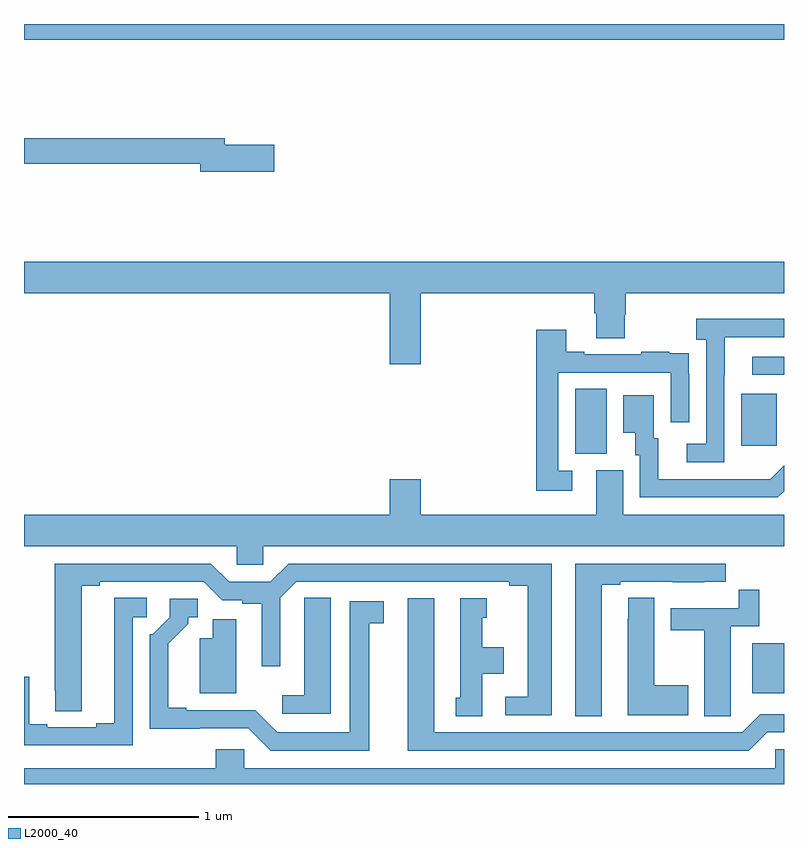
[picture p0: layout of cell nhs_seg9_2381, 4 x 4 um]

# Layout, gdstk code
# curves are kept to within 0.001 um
import gdstk
lib = gdstk.Library(unit=1e-6, precision=1e-09)
def R(c, l, rs):  # rectangles x0, y0, x1, y1
    for r in rs: c.add(gdstk.rectangle(r[:2], r[2:], *l))
def P(c, l, *ps):  # polygons
    for p in ps: c.add(gdstk.Polygon(p, *l))
L2000_40 = (2000, 40)

nhs_seg9_2381 = lib.new_cell('nhs_seg9_2381')
R(nhs_seg9_2381, L2000_40, [(250.832,1196.978,251,1197.241), (249.902,1198.237,250.066,1198.58), (250.775,1198.281,250.963,1198.555), (250.833,1198.653,251,1198.749), (247,1200.416,251,1200.5)])
P(nhs_seg9_2381, L2000_40, [(248.317,1199.864),(248.056,1199.864),(248.056,1199.9),(247,1199.9),(247,1199.764),(247.928,1199.764),(247.928,1199.722),(248.317,1199.722)],
  [(249.088,1199.084),(250.001,1199.084),(250.001,1198.978),(250.013,1198.978),(250.013,1198.846),(250.161,1198.846),(250.161,1198.971),(250.166,1198.971),(250.166,1199.084),(251,1199.084),(251,1199.248),(247,1199.248),(247,1199.084),(248.924,1199.084),(248.924,1198.71),(249.088,1198.71)],
  [(250.686,1198.651),(250.687,1198.651),(250.687,1198.851),(251,1198.851),(251,1198.948),(250.539,1198.948),(250.539,1198.838),(250.59,1198.838),(250.59,1198.29),(250.488,1198.29),(250.488,1198.194),(250.686,1198.194)],
  [(249.886,1198.149),(249.813,1198.149),(249.813,1198.665),(250.404,1198.665),(250.404,1198.404),(250.5,1198.404),(250.5,1198.658),(250.499,1198.658),(250.499,1198.767),(250.397,1198.767),(250.397,1198.774),(250.249,1198.774),(250.249,1198.761),(249.949,1198.761),(249.949,1198.774),(249.853,1198.774),(249.853,1198.891),(249.697,1198.891),(249.697,1198.044),(249.886,1198.044)],
  [(251,1198.042),(251,1198.178),(250.927,1198.105),(250.339,1198.104),(250.339,1198.32),(250.315,1198.32),(250.315,1198.546),(250.154,1198.546),(250.154,1198.349),(250.217,1198.349),(250.217,1198.23),(250.242,1198.23),(250.242,1198.008),(250.966,1198.008)],
  [(248.259,1197.752),(251,1197.752),(251,1197.916),(250.153,1197.916),(250.153,1198.152),(250.013,1198.152),(250.013,1197.916),(249.088,1197.916),(249.088,1198.105),(248.924,1198.105),(248.924,1197.916),(247,1197.916),(247,1197.752),(248.121,1197.752),(248.121,1197.654),(248.259,1197.654)],
  [(249.778,1197.66),(248.393,1197.66),(248.297,1197.564),(248.079,1197.564),(247.983,1197.66),(247.163,1197.66),(247.164,1196.884),(247.303,1196.884),(247.303,1197.544),(247.399,1197.544),(247.399,1197.564),(247.947,1197.564),(248.043,1197.468),(248.148,1197.468),(248.148,1197.448),(248.252,1197.448),(248.252,1197.12),(248.349,1197.12),(248.349,1197.48),(248.433,1197.564),(249.554,1197.564),(249.554,1197.544),(249.65,1197.544),(249.65,1196.958),(249.534,1196.958),(249.534,1196.862),(249.778,1196.862)],
  [(250.042,1197.549),(250.138,1197.549),(250.138,1197.564),(250.414,1197.564),(250.414,1197.563),(250.58,1197.563),(250.58,1197.564),(250.693,1197.564),(250.693,1197.66),(249.902,1197.66),(249.902,1196.857),(250.042,1196.857)],
  [(250.719,1196.968),(250.72,1196.968),(250.72,1197.33),(250.871,1197.33),(250.871,1197.523),(250.762,1197.523),(250.762,1197.426),(250.403,1197.426),(250.403,1197.31),(250.58,1197.31),(250.58,1196.857),(250.719,1196.857)],
  [(247.572,1197.378),(247.645,1197.378),(247.645,1197.479),(247.475,1197.479),(247.475,1196.819),(247.379,1196.819),(247.379,1196.799),(247.123,1196.799),(247.123,1196.814),(247.027,1196.814),(247.027,1197.065),(247,1197.065),(247,1196.703),(247.572,1196.703)],
  [(248.614,1197.479),(248.475,1197.479),(248.475,1197.371),(248.474,1197.371),(248.474,1196.968),(248.358,1196.968),(248.358,1196.871),(248.614,1196.871)],
  [(250.495,1197.021),(250.318,1197.021),(250.318,1197.479),(250.179,1197.479),(250.179,1197.371),(250.178,1197.371),(250.178,1196.861),(250.495,1196.861)],
  [(250.911,1196.772),(251,1196.772),(251,1196.868),(250.875,1196.868),(250.779,1196.772),(249.16,1196.772),(249.16,1197.478),(249.02,1197.478),(249.02,1196.676),(250.815,1196.676)],
  [(249.412,1197.08),(249.526,1197.08),(249.526,1197.22),(249.412,1197.22),(249.412,1197.375),(249.436,1197.375),(249.436,1197.478),(249.296,1197.478),(249.296,1196.955),(249.272,1196.955),(249.272,1196.857),(249.412,1196.857)],
  [(248.818,1197.346),(248.893,1197.346),(248.893,1197.462),(248.714,1197.462),(248.714,1196.772),(248.334,1196.772),(248.217,1196.889),(247.855,1196.889),(247.855,1196.902),(247.759,1196.902),(247.759,1197.238),(247.864,1197.343),(247.864,1197.378),(247.914,1197.378),(247.914,1197.474),(247.767,1197.474),(247.767,1197.378),(247.677,1197.288),(247.662,1197.288),(247.662,1196.792),(248.181,1196.793),(248.298,1196.676),(248.818,1196.676)],
  [(248.116,1197.366),(247.994,1197.366),(247.994,1197.268),(247.925,1197.268),(247.925,1196.978),(248.116,1196.978)],
  [(251,1196.682),(250.953,1196.682),(250.953,1196.584),(248.16,1196.584),(248.16,1196.682),(248.009,1196.682),(248.009,1196.584),(247,1196.584),(247,1196.5),(251,1196.5)])

lib.write_gds('nhs_seg9_2381.gds')
